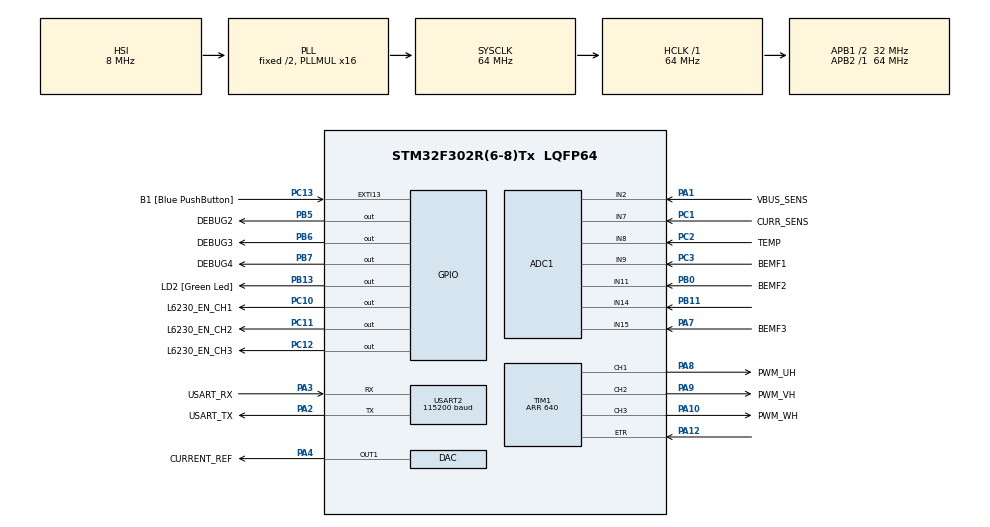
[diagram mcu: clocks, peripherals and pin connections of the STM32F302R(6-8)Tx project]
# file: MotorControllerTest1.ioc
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ADC1.Channel-0\#ChannelRegularConversion=ADC_CHANNEL_2
ADC1.EnableInjectedConversion=DISABLE
ADC1.ExternalTrigConv=ADC_EXTERNALTRIGCONV_T1_TRGO
ADC1.ExternalTrigConvEdge=ADC_EXTERNALTRIGCONVEDGE_RISING
ADC1.NbrOfConversion=1
ADC1.NbrOfConversionFlag=1
ADC1.Offset-0\#ChannelRegularConversion=0
ADC1.OffsetNumber-0\#ChannelRegularConversion=ADC_OFFSET_NONE
ADC1.Rank-0\#ChannelRegularConversion=1
ADC1.SamplingTime-0\#ChannelRegularConversion=ADC_SAMPLETIME_1CYCLE_5
ADC1.master=1
Dma.Request0=USART2_TX
Dma.USART2_TX.0.Direction=DMA_MEMORY_TO_PERIPH
Dma.USART2_TX.0.Instance=DMA1_Channel7
Dma.USART2_TX.0.MemDataAlignment=DMA_MDATAALIGN_BYTE
Dma.USART2_TX.0.MemInc=DMA_MINC_ENABLE
Dma.USART2_TX.0.Mode=DMA_NORMAL
Dma.USART2_TX.0.PeriphDataAlignment=DMA_PDATAALIGN_BYTE
Dma.USART2_TX.0.PeriphInc=DMA_PINC_DISABLE
Dma.USART2_TX.0.Priority=DMA_PRIORITY_MEDIUM
Mcu.Family=STM32F3
Mcu.Name=STM32F302R(6-8)Tx
Mcu.Package=LQFP64
NVIC.ADC1_IRQn=true\:0\:0\:true\:false\:true\:true
NVIC.DMA1_Channel7_IRQn=true\:1\:0\:true\:false\:true\:false
NVIC.EXTI15_10_IRQn=true\:1\:0\:true\:false\:true\:true
NVIC.PriorityGroup=NVIC_PRIORITYGROUP_2
NVIC.TIM1_BRK_TIM15_IRQn=true\:1\:0\:true\:false\:true\:true
NVIC.TIM1_UP_TIM16_IRQn=true\:1\:0\:true\:false\:true\:true
NVIC.TIM2_IRQn=true\:1\:0\:true\:false\:true\:true
NVIC.USART2_IRQn=true\:1\:0\:true\:false\:true\:true
PA1.GPIO_Label=VBUS_SENS
PA1.Mode=IN2-Single-Ended
PA1.Signal=ADC1_IN2
PA10.GPIO_Label=PWM_WH
PA10.Signal=S_TIM1_CH3
PA12.Signal=S_TIM1_ETR
PA13.GPIO_Label=TMS
PA13.Mode=Serial_Wire
PA13.Signal=SYS_JTMS-SWDIO
PA14.GPIO_Label=TCK
PA14.Mode=Serial_Wire
PA14.Signal=SYS_JTCK-SWCLK
PA2.GPIO_Label=USART_TX
PA2.GPIO_Mode=GPIO_MODE_AF_PP
PA2.GPIO_PuPd=GPIO_NOPULL
PA2.GPIO_Speed=GPIO_SPEED_FREQ_LOW
PA2.Mode=Asynchronous
PA2.Signal=USART2_TX
PA3.GPIO_Label=USART_RX
PA3.GPIO_Mode=GPIO_MODE_AF_PP
PA3.GPIO_PuPd=GPIO_NOPULL
PA3.GPIO_Speed=GPIO_SPEED_FREQ_LOW
PA3.Mode=Asynchronous
PA3.Signal=USART2_RX
PA4.GPIO_Label=CURRENT_REF
PA4.Signal=COMP_DAC1_group
PA7.GPIO_Label=BEMF3
PA7.Mode=IN15-Single-Ended
PA7.Signal=ADC1_IN15
PA8.GPIO_Label=PWM_UH
PA8.Signal=S_TIM1_CH1
PA9.GPIO_Label=PWM_VH
PA9.Signal=S_TIM1_CH2
PB0.GPIO_Label=BEMF2
PB0.Mode=IN11-Single-Ended
PB0.Signal=ADC1_IN11
PB11.Mode=IN14-Single-Ended
PB11.Signal=ADC1_IN14
PB13.GPIO_Label=LD2 [Green Led]
PB13.Signal=GPIO_Output
PB3.GPIO_Label=SWO
PB3.Mode=Trace_Asynchronous_SW
PB3.Signal=SYS_JTDO-TRACESWO
PB5.GPIO_Label=DEBUG2
PB5.Signal=GPIO_Output
PB6.GPIO_Label=DEBUG3
PB6.Signal=GPIO_Output
PB7.GPIO_Label=DEBUG4
PB7.Signal=GPIO_Output
PC1.GPIO_Label=CURR_SENS
PC1.Signal=ADCx_IN7
PC10.GPIO_Label=L6230_EN_CH1
PC10.Signal=GPIO_Output
PC11.GPIO_Label=L6230_EN_CH2
PC11.Signal=GPIO_Output
PC12.GPIO_Label=L6230_EN_CH3
PC12.Signal=GPIO_Output
PC13.GPIO_Label=B1 [Blue PushButton]
PC13.GPIO_ModeDefaultEXTI=GPIO_MODE_IT_FALLING
PC13.Signal=GPXTI13
PC14\ -\ OSC32_IN.Mode=LSE-External-Oscillator
PC14\ -\ OSC32_IN.Signal=RCC_OSC32_IN
PC15\ -\ OSC32_OUT.Mode=LSE-External-Oscillator
PC15\ -\ OSC32_OUT.Signal=RCC_OSC32_OUT
PC2.GPIO_Label=TEMP
PC2.Signal=ADCx_IN8
PC3.GPIO_Label=BEMF1
PC3.Signal=ADCx_IN9
PF0-OSC_IN.Mode=HSE-External-Clock-Source
PF0-OSC_IN.Signal=RCC_OSC_IN
PF1-OSC_OUT.Signal=RCC_OSC_OUT
ProjectManager.HeapSize=0x200
ProjectManager.StackSize=0x400
ProjectManager.TargetToolchain=SW4STM32
RCC.AHBFreq_Value=64000000
RCC.APB1CLKDivider=RCC_HCLK_DIV2
RCC.APB1Freq_Value=32000000
RCC.APB1TimFreq_Value=64000000
RCC.APB2Freq_Value=64000000
RCC.APB2TimFreq_Value=64000000
RCC.CortexFreq_Value=64000000
RCC.HCLKFreq_Value=64000000
RCC.HSE_VALUE=8000000
RCC.HSI_VALUE=8000000
RCC.PLLM=8
RCC.PLLMUL=RCC_PLL_MUL16
RCC.PLLN=336
RCC.PLLP=RCC_PLLP_DIV4
RCC.PLLQ=7
RCC.RCC_PLLsource_Clock_Source_FROM_HSE=RCC_HSE_PREDIV_DIV2
RCC.SYSCLKFreq_VALUE=64000000
RCC.SYSCLKSourceVirtual=RCC_SYSCLKSOURCE_PLLCLK
RCC.USBFreq_Value=64000000
SH.ADCx_IN7.0=ADC1_IN7,IN7-Single-Ended
SH.ADCx_IN8.0=ADC1_IN8,IN8-Single-Ended
SH.ADCx_IN9.0=ADC1_IN9,IN9-Single-Ended
SH.COMP_DAC1_group.0=DAC_OUT1,DAC_OUT1
SH.S_TIM1_CH1.0=TIM1_CH1,PWM Generation1 CH1
SH.S_TIM1_CH2.0=TIM1_CH2,PWM Generation2 CH2
SH.S_TIM1_CH3.0=TIM1_CH3,PWM Generation3 CH3
SH.S_TIM1_ETR.0=TIM1_ETR,ETR-as-clearing-source
TIM1.AutoReloadPreload=TIM_AUTORELOAD_PRELOAD_DISABLE
TIM1.AutomaticOutput=TIM_AUTOMATICOUTPUT_DISABLE
TIM1.BreakPolarity=TIM_BREAKPOLARITY_LOW
TIM1.BreakState=TIM_BREAK_DISABLE
TIM1.Channel-PWM\ Generation1\ CH1=TIM_CHANNEL_1
TIM1.Channel-PWM\ Generation2\ CH2=TIM_CHANNEL_2
TIM1.Channel-PWM\ Generation3\ CH3=TIM_CHANNEL_3
TIM1.ClearChannel1=TIM_CHANNEL_1
TIM1.ClearChannel2=TIM_CHANNEL_2
TIM1.ClearChannel3=TIM_CHANNEL_3
TIM1.ClearInputPolarity=TIM_CLEARINPUTPOLARITY_NONINVERTED
TIM1.CounterMode=TIM_COUNTERMODE_CENTERALIGNED1
TIM1.Period=640
TIM1.TIM_MasterOutputTrigger=TIM_TRGO_UPDATE
TIM1.TIM_MasterSlaveMode=TIM_MASTERSLAVEMODE_ENABLE
TIM16.ClockDivision=TIM_CLOCKDIVISION_DIV4
TIM16.Period=10
TIM16.Prescaler=1600
TIM2.ClockDivision=TIM_CLOCKDIVISION_DIV1
TIM2.Period=1428
TIM2.Prescaler=64
TIM2.TIM_MasterOutputTrigger=TIM_TRGO_ENABLE
USART2.BaudRate=115200
USART2.VirtualMode-Asynchronous=VM_ASYNC
USART2.WordLength=WORDLENGTH_8B
VP_TIM16_VS_ClockSourceINT.Mode=Enable_Timer
VP_TIM1_VS_ClockSourceINT.Mode=Internal
VP_TIM2_VS_ClockSourceINT.Mode=Internal
board=NUCLEO-F302R8

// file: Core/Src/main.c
/* USER CODE BEGIN Header */
/**
  ******************************************************************************
  * @file           : main.c
  * @brief          : Main program body
  ******************************************************************************
  ** This notice applies to any and all portions of this file
  * that are not between comment pairs USER CODE BEGIN and
  * USER CODE END. Other portions of this file, whether
  * inserted by the user or by software development tools
  * are owned by their respective copyright owners.
  *
  * COPYRIGHT(c) 2018 STMicroelectronics
  *
  * Redistribution and use in source and binary forms, with or without modification,
  * are permitted provided that the following conditions are met:
  *   1. Redistributions of source code must retain the above copyright notice,
  *      this list of conditions and the following disclaimer.
  *   2. Redistributions in binary form must reproduce the above copyright notice,
  *      this list of conditions and the following disclaimer in the documentation
  *      and/or other materials provided with the distribution.
  *   3. Neither the name of STMicroelectronics nor the names of its contributors
  *      may be used to endorse or promote products derived from this software
  *      without specific prior written permission.
  *
  * THIS SOFTWARE IS PROVIDED BY THE COPYRIGHT HOLDERS AND CONTRIBUTORS "AS IS"
  * AND ANY EXPRESS OR IMPLIED WARRANTIES, INCLUDING, BUT NOT LIMITED TO, THE
  * IMPLIED WARRANTIES OF MERCHANTABILITY AND FITNESS FOR A PARTICULAR PURPOSE ARE
  * DISCLAIMED. IN NO EVENT SHALL THE COPYRIGHT HOLDER OR CONTRIBUTORS BE LIABLE
  * FOR ANY DIRECT, INDIRECT, INCIDENTAL, SPECIAL, EXEMPLARY, OR CONSEQUENTIAL
  * DAMAGES (INCLUDING, BUT NOT LIMITED TO, PROCUREMENT OF SUBSTITUTE GOODS OR
  * SERVICES; LOSS OF USE, DATA, OR PROFITS; OR BUSINESS INTERRUPTION) HOWEVER
  * CAUSED AND ON ANY THEORY OF LIABILITY, WHETHER IN CONTRACT, STRICT LIABILITY,
  * OR TORT (INCLUDING NEGLIGENCE OR OTHERWISE) ARISING IN ANY WAY OUT OF THE USE
  * OF THIS SOFTWARE, EVEN IF ADVISED OF THE POSSIBILITY OF SUCH DAMAGE.
  *
  ******************************************************************************
  */
/* USER CODE END Header */

#include "main.h"
#include "adc.h"
#include "dac.h"
#include "dma.h"
#include "tim.h"
#include "usart.h"
#include "gpio.h"

/* USER CODE BEGIN Includes */

#include <stdio.h>
#include <string.h>
#include "sixstep.h"
#include "telemetry.h"

/* USER CODE END Includes */

/* USER CODE BEGIN PV */

static int is_running = 0;
#define msg_tx_buffer_length 32
static uint8_t msg_tx_buffer[msg_tx_buffer_length] = { 0 };

/* USER CODE END PV */

void SystemClock_Config(void);
/* USER CODE BEGIN PFP */
void print_serial(const char * str);
void periodic(void);
/* USER CODE END PFP */

int main(void)
{

  /* MCU Configuration--------------------------------------------------------*/

  /* Reset of all peripherals, Initializes the Flash interface and the Systick. */
  HAL_Init();

  /* Configure the system clock */
  SystemClock_Config();

  /* Initialize all configured peripherals */
  MX_GPIO_Init();
  MX_DMA_Init();
  MX_USART2_UART_Init();
  MX_ADC1_Init();
  MX_TIM1_Init();
  MX_DAC_Init();
  MX_TIM2_Init();
  MX_TIM16_Init();
  /* USER CODE BEGIN 2 */

  /* Configure TIM1 to disable PWM outputs when the core is halted */
  __HAL_DBGMCU_FREEZE_TIM1();

  SixStep_Init();
  SixStep_StartTimer();
  SixStep_StartADC();

  HAL_TIM_Base_Start_IT(&htim16);

  HAL_Delay(3000);
  SixStep_StartMotor();
  is_running = 1;

  HAL_Delay(5000);
  SixStep_SetTargetSpeed(3000);
  HAL_Delay(5000);
  SixStep_SetTargetSpeed(4000);
  HAL_Delay(5000);
  SixStep_SetTargetSpeed(5000);
  HAL_Delay(5000);
  SixStep_SetTargetSpeed(6000);

  /* USER CODE END 2 */

  /* Infinite loop */
  while (1)
  {

  }
}

void SystemClock_Config(void)
{
  RCC_OscInitTypeDef RCC_OscInitStruct = {0};
  RCC_ClkInitTypeDef RCC_ClkInitStruct = {0};
  RCC_PeriphCLKInitTypeDef PeriphClkInit = {0};

  /**Initializes the CPU, AHB and APB busses clocks
  */
  RCC_OscInitStruct.OscillatorType = RCC_OSCILLATORTYPE_HSI;
  RCC_OscInitStruct.HSIState = RCC_HSI_ON;
  RCC_OscInitStruct.HSICalibrationValue = RCC_HSICALIBRATION_DEFAULT;
  RCC_OscInitStruct.PLL.PLLState = RCC_PLL_ON;
  RCC_OscInitStruct.PLL.PLLSource = RCC_PLLSOURCE_HSI;
  RCC_OscInitStruct.PLL.PLLMUL = RCC_PLL_MUL16;
  if (HAL_RCC_OscConfig(&RCC_OscInitStruct) != HAL_OK)
  {
    Error_Handler();
  }
  /**Initializes the CPU, AHB and APB busses clocks
  */
  RCC_ClkInitStruct.ClockType = RCC_CLOCKTYPE_HCLK|RCC_CLOCKTYPE_SYSCLK
                              |RCC_CLOCKTYPE_PCLK1|RCC_CLOCKTYPE_PCLK2;
  RCC_ClkInitStruct.SYSCLKSource = RCC_SYSCLKSOURCE_PLLCLK;
  RCC_ClkInitStruct.AHBCLKDivider = RCC_SYSCLK_DIV1;
  RCC_ClkInitStruct.APB1CLKDivider = RCC_HCLK_DIV2;
  RCC_ClkInitStruct.APB2CLKDivider = RCC_HCLK_DIV1;

  if (HAL_RCC_ClockConfig(&RCC_ClkInitStruct, FLASH_LATENCY_2) != HAL_OK)
  {
    Error_Handler();
  }
  PeriphClkInit.PeriphClockSelection = RCC_PERIPHCLK_TIM1|RCC_PERIPHCLK_TIM16
                              |RCC_PERIPHCLK_ADC1;
  PeriphClkInit.Tim1ClockSelection = RCC_TIM1CLK_HCLK;
  PeriphClkInit.Tim16ClockSelection = RCC_TIM16CLK_HCLK;
  PeriphClkInit.Adc1ClockSelection = RCC_ADC1PLLCLK_DIV1;

  if (HAL_RCCEx_PeriphCLKConfig(&PeriphClkInit) != HAL_OK)
  {
    Error_Handler();
  }
}

/* USER CODE BEGIN 4 */

void periodic(void)
{
  static unsigned int cnt10 = 0;
  static unsigned int cnt11 = 0;

  //if (cnt10 == 9) {
    SixStep_LowFreqTask();
  //  cnt10 = 0;
  //}

  if (cnt11 == 449) {
    telemetry_msg_status_send(0, SixStep_GetVBUS(), SixStep_GetTemp(), SixStep_GetCurrent(), SixStep_GetFilteredSpeed());
    cnt11 = 0;
  }

  cnt10++;
  cnt11++;
}

void HAL_ADC_ConvCpltCallback(ADC_HandleTypeDef* hadc)
{
  if (hadc->Instance == ADC1) {
    SixStep_ADCInterrupt();
  }
}

void HAL_TIM_PeriodElapsedCallback(TIM_HandleTypeDef *htim)
{
  if (htim->Instance == TIM2) {
    SixStep_CommutationInterrupt();
  }
  else if (htim->Instance == TIM16) {
    periodic();
  }
}

void HAL_GPIO_EXTI_Callback(uint16_t GPIO_Pin)
{
//  switch (GPIO_Pin) {
//  case B1_Pin:
//    if (is_running == 0) {
//      SixStep_StartMotor();
//      is_running = 1;
//    }
//    else {
//      SixStep_StopMotor();
//      is_running = 0;
//    }
//
//    break;
//  }
}

void telemetry_msg_set_speed_callback(telemetry_msg_set_speed_t *speed)
{
  SixStep_SetTimerSpeed(speed->speed);
}

void telemetry_msg_stop_callback(telemetry_msg_stop_t *stop)
{
  (void)stop;
  SixStep_StopMotor();
}

void telemetry_msg_start_callback(telemetry_msg_start_t *start)
{
  (void)start;
  SixStep_StartMotor();
}

void telemetry_send_bytes(uint8_t * bytes, size_t len)
{
  msg_tx_buffer[0] = 0xAB;
  msg_tx_buffer[1] = 0xBA;
  memcpy((void *)&msg_tx_buffer[2], (void *)&bytes[0], len);
  HAL_UART_Transmit_DMA(&huart2, (uint8_t *)&msg_tx_buffer[0], len + 2);
}

void print_serial(const char *str)
{
  for (int i = 0; i < strlen(str); i++) {
    HAL_UART_Transmit(&huart2, (uint8_t *)&str[i], 1, HAL_MAX_DELAY);
  }
}

/* USER CODE END 4 */

void Error_Handler(void)
{
}

/************************ (C) COPYRIGHT STMicroelectronics *****END OF FILE****/
